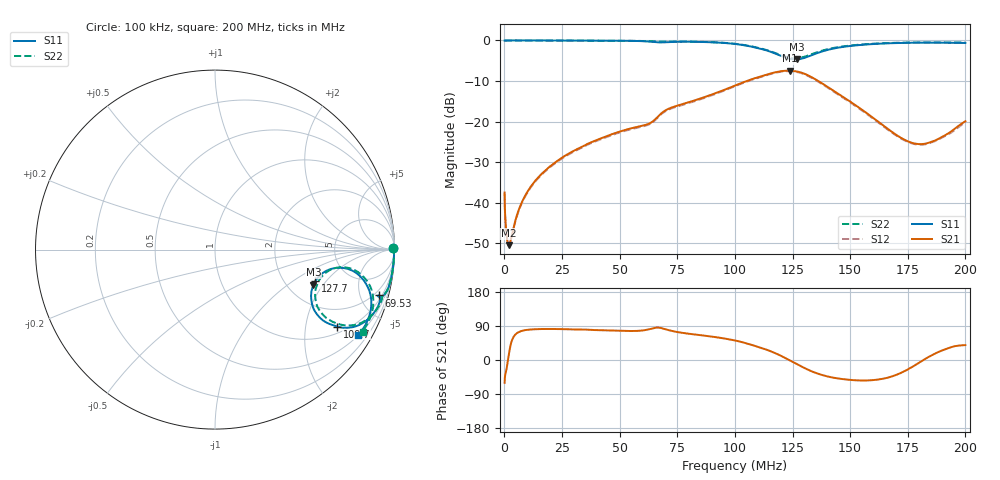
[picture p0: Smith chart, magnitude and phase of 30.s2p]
#  HZ  S  RI  R  50.00
! Rohde & Schwarz Vector Network Analyzer
! Rohde-Schwarz,ZNLE6-2Port,1323001256200024,1.71.1.10-23.02.1.238
! Created: UTC 4/8/2025, 1:35:18 AM
! freq[Hz]  re:S11  im:S11  re:S21  im:S21  re:S12  im:S12  re:S22  im:S22
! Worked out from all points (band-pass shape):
!   1001 points, 100 kHz to 200 MHz, reference 50 ohm
!   highest |S21| = -7.47 dB at 123.9 MHz (marker M1); lowest = -50.5 dB at 1.924 MHz (marker M2)
!   |S21| within 3 dB of the highest: 103 MHz to 137.5 MHz (34.46 MHz wide, 28.7 % of centre)
!   lowest |S11| = -4.7 dB at 126.8 MHz (marker M3), VSWR 3.79, Z = 136 - j81 ohm
!   |S11| at or under -10 dB: nowhere
!   |S22| runs from -4.4 to 0.0 dB; largest |S21 - S12| = 0.0071
!   S11 on the Smith chart (normalised r, x): 100 kHz: open; 69.53 MHz: 1.40, -7.01; 109.7 MHz: 1.23, -3.01; 127.7 MHz: 2.90, -1.56; 200 MHz: 0.51, -3.58
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100000  0.9935 0.0115  0.00661 -0.0116  0.00644 -0.0113  0.9936 0.011
355854.1  0.9947 0.00346  0.00524 -0.00434  0.00511 -0.00423  0.995 0.0034
1266322  0.9966 -0.00234  0.00333 -0.000722  0.00325 -0.000708  0.9967 -0.0022
1923538  0.997 -0.00533  0.00289 0.000713  0.00283 0.000698  0.9971 -0.00501
2749471  0.9975 -0.00889  0.0026 0.00226  0.00257 0.00218  0.9975 -0.00783
4472136  0.9973 -0.0158  0.00234 0.0051  0.00231 0.00497  0.9979 -0.0137
1.591428e7  0.9957 -0.0599  0.00321 0.0221  0.00325 0.0215  0.996 -0.0566
5.663162e7  0.9567 -0.2331  0.0196 0.0823  0.0199 0.0801  0.964 -0.2158
6.299027e7  0.9288 -0.2615  0.0139 0.0939  0.0134 0.0917  0.9474 -0.2433
6.953234e7  0.9126 -0.2555  0.0195 0.1341  0.0202 0.1305  0.9326 -0.2555
9.072414e7  0.8701 -0.3709  0.1056 0.1917  0.1043 0.1871  0.8782 -0.3613
1.097106e8  0.6822 -0.4289  0.2848 0.2014  0.2801 0.1977  0.6999 -0.4178
1.165888e8  0.5902 -0.3848  0.3733 0.1389  0.3675 0.1365  0.6102 -0.3719
1.238982e8  0.5352 -0.2558  0.4233 -0.00733  0.4169 -0.00841  0.5577 -0.2452
1.267559e8  0.5488 -0.1959  0.4076 -0.0732  0.4008 -0.0736  0.5724 -0.1871
1.27723e8  0.5579 -0.1766  0.398 -0.0943  0.3912 -0.0945  0.5812 -0.1688
1.336828e8  0.6553 -0.1055  0.2981 -0.1778  0.2912 -0.1763  0.6754 -0.1013
1.399206e8  0.7513 -0.1113  0.1979 -0.1847  0.1926 -0.1818  0.7679 -0.1097
1.544525e8  0.8523 -0.2111  0.0848 -0.1168  0.0822 -0.1146  0.865 -0.2057
1.757569e8  0.8632 -0.3577  0.0517 -0.0213  0.0506 -0.0213  0.8759 -0.3448
1.853616e8  0.8427 -0.4117  0.0551 0.012  0.0542 0.0113  0.8585 -0.3953
2e8  0.7994 -0.4746  0.0781 0.064  0.0752 0.0626  0.8229 -0.4576
